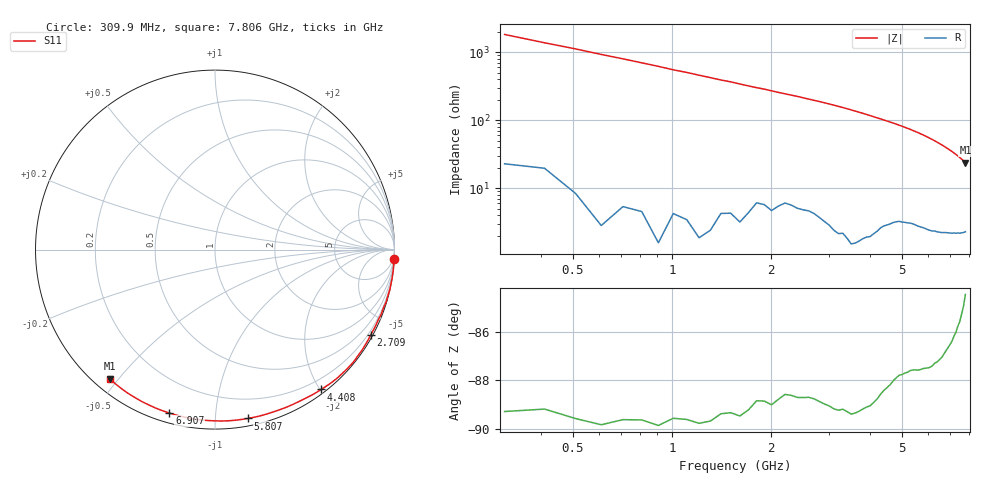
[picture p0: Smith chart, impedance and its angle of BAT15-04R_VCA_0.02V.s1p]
! Infineon Technologies  Discrete & RF Semiconductors
! BAT15-04R
! VCA = 0.02 V
! One-Port S-Parameters
# Hz  S  MA  R  50
!f  S11
!Hz  Mag  Ang
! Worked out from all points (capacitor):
!   76 points, 309.9 MHz to 7.806 GHz, reference 50 ohm
!   read as one part to ground: C = 283 fF near 309.9 MHz
!   lowest |Z| = 23.8 ohm at 7.806 GHz (marker M1)
!   S11 on the Smith chart (normalised r, x): 309.9 MHz: 0, -36; 2.709 GHz: 0.08, -3.90; 4.408 GHz: 0.06, -2.01; 5.807 GHz: 0.05, -1.21; 6.907 GHz: 0.04, -0.76; 7.806 GHz: 0.05, -0.47
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3.0985e8  0.9993 -3.2
9.0955e8  0.9996 -9.3
1.30935e9  0.9987 -13.5
1.6092e9  0.9973 -16.7
2.009e9  0.9938 -21.0
2.2089e9  0.9903 -23.2
2.4088e9  0.9904 -25.2
2.70865e9  0.9897 -28.7
2.90855e9  0.9908 -31.0
3.2084e9  0.9923 -34.8
3.50825e9  0.9933 -38.9
3.70815e9  0.9915 -41.8
4.10795e9  0.9859 -48.0
4.4078e9  0.9782 -52.8
4.70765e9  0.9712 -57.8
5.0075e9  0.9657 -63.0
5.30735e9  0.9617 -68.7
5.6072e9  0.96 -74.8
5.8071e9  0.9583 -79.0
6.007e9  0.9574 -83.6
6.2069e9  0.9555 -88.2
6.50675e9  0.9517 -95.5
6.70665e9  0.9486 -100.5
6.90655e9  0.9454 -105.6
7.10645e9  0.9427 -110.7
7.30635e9  0.9394 -115.9
7.6062e9  0.9335 -123.8
7.8061e9  0.9279 -129.3
